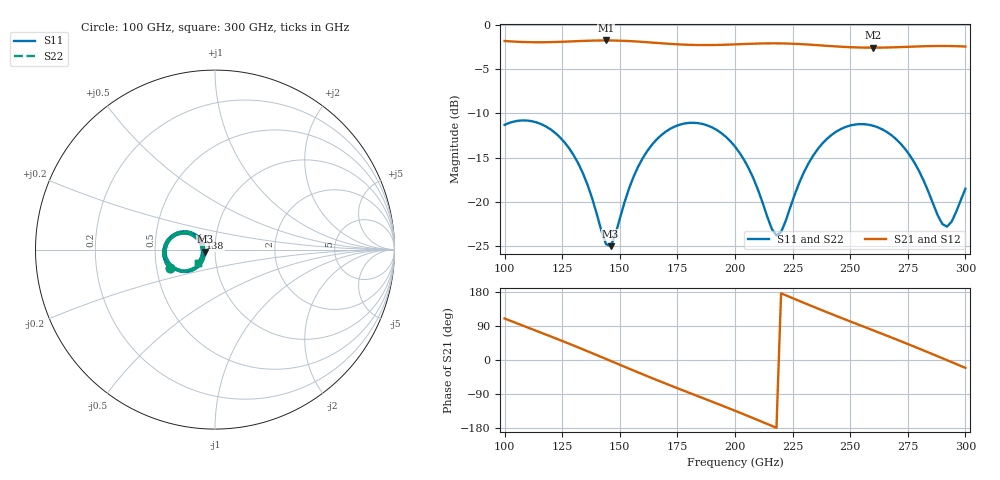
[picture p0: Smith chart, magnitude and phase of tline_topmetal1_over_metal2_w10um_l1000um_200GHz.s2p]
#  GHZ S DB R 50
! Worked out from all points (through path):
!   101 points, 100 GHz to 300 GHz, reference 50 ohm
!   highest |S21| = -1.76 dB at 144 GHz (marker M1); lowest = -2.6 dB at 260 GHz (marker M2)
!   group delay of S21, straight-line fit = 6.81 ps
!   lowest |S11| = -25.0 dB at 146 GHz (marker M3), VSWR 1.12, Z = 44.7 - j1.01 ohm
!   |S11| at or under -10 dB: start of sweep to end of sweep
!   |S22| runs from -24.7 to -10.8 dB; largest |S21 - S12| = 8.9e-14
!   S11 on the Smith chart (normalised r, x): 100 GHz: 0.59, -0.13; 138 GHz: 0.84, +0.11; 300 GHz: 0.82, -0.12
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100  -11.28 -157.6  -1.83 109.5  -1.83 109.5  -11.28 -157.5
116  -11.22 170.9  -1.97 71.7  -1.97 71.7  -11.21 171.1
126  -13.25 152.7  -1.90 47.8  -1.90 47.8  -13.23 153.1
134  -16.75 142.6  -1.82 28.1  -1.82 28.1  -16.71 143.2
138  -19.57 142.9  -1.79 18.0  -1.79 18.0  -19.49 143.7
144  -24.74 171.1  -1.76 2.8  -1.76 2.8  -24.49 171.4
146  -24.97 -168.5  -1.77 -2.3  -1.77 -2.3  -24.72 -168.8
158  -15.98 -135.7  -1.89 -32.9  -1.89 -32.9  -15.95 -136.2
168  -12.44 -150.5  -2.08 -57.6  -2.08 -57.6  -12.43 -150.7
184  -11.09 180.0  -2.28 -95.7  -2.28 -95.7  -11.08 179.9
200  -13.73 152.5  -2.21 -133.9  -2.21 -133.9  -13.72 152.7
210  -18.62 145.9  -2.11 -158.7  -2.11 -158.7  -18.58 146.3
218  -23.76 -179.0  -2.09 -179.0  -2.09 -179.0  -23.62 -179.0
226  -19.09 -139.2  -2.15 160.7  -2.15 160.7  -19.04 -139.7
234  -14.72 -141.7  -2.27 140.6  -2.27 140.6  -14.70 -142.0
246  -11.75 -160.3  -2.47 111.4  -2.47 111.4  -11.74 -160.4
260  -11.39 174.9  -2.58 78.2  -2.58 78.2  -11.38 174.9
268  -12.47 161.5  -2.54 59.2  -2.54 59.2  -12.47 161.5
278  -15.60 149.0  -2.45 34.8  -2.45 34.8  -15.59 149.0
290  -22.47 171.9  -2.39 4.7  -2.39 4.7  -22.48 172.0
294  -22.22 -161.4  -2.40 -5.5  -2.40 -5.5  -22.23 -161.3
300  -18.49 -142.5  -2.45 -20.7  -2.45 -20.7  -18.49 -142.3
